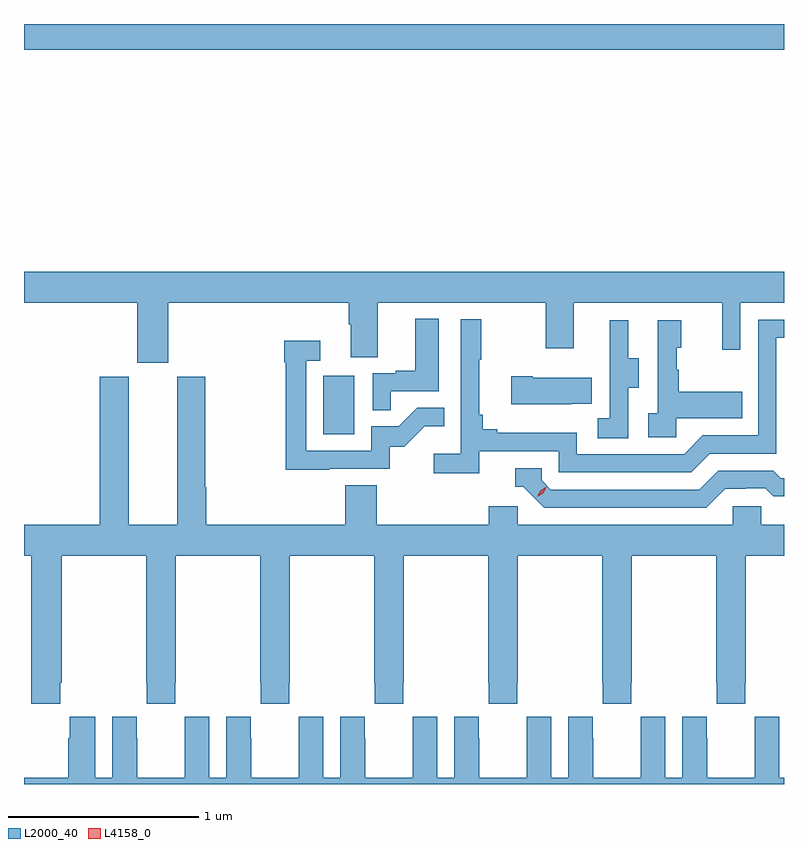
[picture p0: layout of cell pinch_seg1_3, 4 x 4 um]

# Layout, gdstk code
import gdstk
lib = gdstk.Library(unit=1e-6, precision=1e-09)
def R(c, l, rs):  # rectangles x0, y0, x1, y1
    for r in rs: c.add(gdstk.rectangle(r[:2], r[2:], *l))
def P(c, l, *ps):  # polygons
    for p in ps: c.add(gdstk.Polygon(p, *l))
L2000_40 = (2000, 40)
L4158_0 = (4158, 0)

pinch_seg1_3 = lib.new_cell('pinch_seg1_3')
R(pinch_seg1_3, L2000_40, [(1090.394,576.348,1090.558,576.655), (1088.82,578.372,1092.82,578.507)])
P(pinch_seg1_3, L2000_40, [(1089.58,577.04),(1090.529,577.04),(1090.529,576.928),(1090.541,576.928),(1090.541,576.754),(1090.681,576.754),(1090.681,577.04),(1091.566,577.04),(1091.566,576.801),(1091.713,576.801),(1091.713,577.04),(1092.494,577.04),(1092.494,576.792),(1092.591,576.792),(1092.591,577.04),(1092.82,577.04),(1092.82,577.204),(1088.82,577.204),(1088.82,577.04),(1089.416,577.04),(1089.416,576.723),(1089.58,576.723)],
  [(1090.751,576.573),(1091.002,576.573),(1091.002,576.955),(1090.88,576.955),(1090.88,576.682),(1090.777,576.682),(1090.777,576.669),(1090.656,576.669),(1090.656,576.475),(1090.751,576.475)],
  [(1091.216,576.258),(1091.634,576.258),(1091.634,576.147),(1092.331,576.147),(1092.43,576.246),(1092.78,576.246),(1092.78,576.855),(1092.82,576.855),(1092.82,576.951),(1092.684,576.951),(1092.684,576.342),(1092.393,576.342),(1092.294,576.243),(1091.73,576.243),(1091.73,576.355),(1091.311,576.355),(1091.311,576.374),(1091.234,576.374),(1091.234,576.451),(1091.215,576.451),(1091.215,576.739),(1091.227,576.739),(1091.227,576.952),(1091.118,576.952),(1091.118,576.244),(1090.977,576.244),(1090.977,576.142),(1091.216,576.142)],
  [(1092,576.592),(1092.055,576.592),(1092.055,576.747),(1092.001,576.747),(1092.001,576.949),(1091.903,576.949),(1091.903,576.735),(1091.904,576.735),(1091.904,576.431),(1091.841,576.431),(1091.841,576.328),(1092,576.328)],
  [(1092.252,576.431),(1092.599,576.431),(1092.599,576.571),(1092.265,576.571),(1092.265,576.686),(1092.255,576.686),(1092.255,576.804),(1092.28,576.804),(1092.28,576.949),(1092.156,576.949),(1092.156,576.458),(1092.105,576.458),(1092.105,576.333),(1092.252,576.333)],
  [(1090.427,576.165),(1090.746,576.165),(1090.746,576.282),(1090.822,576.282),(1090.929,576.389),(1091.033,576.389),(1091.033,576.488),(1090.89,576.488),(1090.792,576.39),(1090.647,576.39),(1090.647,576.261),(1090.305,576.261),(1090.305,576.735),(1090.378,576.735),(1090.378,576.841),(1090.189,576.841),(1090.189,576.728),(1090.197,576.728),(1090.197,576.16),(1090.427,576.16)],
  [(1091.699,576.509),(1091.807,576.509),(1091.807,576.646),(1091.497,576.646),(1091.497,576.654),(1091.385,576.654),(1091.385,576.506),(1091.699,576.506)],
  [(1089.37,576.651),(1089.218,576.651),(1089.218,575.872),(1088.82,575.872),(1088.82,575.708),(1088.858,575.708),(1088.858,574.929),(1089.011,574.929),(1089.011,575.041),(1089.018,575.041),(1089.018,575.708),(1089.463,575.708),(1089.463,575.041),(1089.465,575.041),(1089.465,574.929),(1089.615,574.929),(1089.615,575.041),(1089.618,575.041),(1089.618,575.708),(1090.063,575.708),(1090.063,575.041),(1090.065,575.041),(1090.065,574.929),(1090.215,574.929),(1090.215,575.041),(1090.218,575.041),(1090.218,575.708),(1090.663,575.708),(1090.663,575.041),(1090.665,575.041),(1090.665,574.929),(1090.815,574.929),(1090.815,575.041),(1090.818,575.041),(1090.818,575.708),(1091.263,575.708),(1091.263,575.041),(1091.265,575.041),(1091.265,574.929),(1091.415,574.929),(1091.415,575.041),(1091.418,575.041),(1091.418,575.708),(1091.863,575.708),(1091.863,575.041),(1091.865,575.041),(1091.865,574.929),(1092.015,574.929),(1092.015,575.041),(1092.018,575.041),(1092.018,575.708),(1092.463,575.708),(1092.463,575.041),(1092.465,575.041),(1092.465,574.929),(1092.615,574.929),(1092.615,575.041),(1092.618,575.041),(1092.618,575.708),(1092.82,575.708),(1092.82,575.872),(1092.699,575.872),(1092.699,575.97),(1092.549,575.97),(1092.549,575.872),(1091.418,575.872),(1091.418,575.97),(1091.267,575.97),(1091.267,575.872),(1090.676,575.872),(1090.676,576.08),(1090.511,576.08),(1090.511,575.872),(1089.779,575.872),(1089.779,576.068),(1089.774,576.068),(1089.774,576.651),(1089.626,576.651),(1089.626,575.872),(1089.37,575.872)],
  [(1092.511,576.06),(1092.618,576.06),(1092.618,576.063),(1092.721,576.063),(1092.763,576.021),(1092.82,576.021),(1092.82,576.117),(1092.802,576.117),(1092.763,576.156),(1092.474,576.156),(1092.375,576.057),(1091.592,576.057),(1091.544,576.105),(1091.544,576.168),(1091.405,576.168),(1091.405,576.072),(1091.448,576.072),(1091.559,575.961),(1092.412,575.961)],
  [(1092.82,574.54),(1092.796,574.54),(1092.796,574.861),(1092.666,574.861),(1092.666,574.748),(1092.665,574.748),(1092.665,574.54),(1092.415,574.54),(1092.415,574.748),(1092.414,574.748),(1092.414,574.861),(1092.284,574.861),(1092.284,574.54),(1092.196,574.54),(1092.196,574.861),(1092.066,574.861),(1092.066,574.748),(1092.065,574.748),(1092.065,574.54),(1091.815,574.54),(1091.815,574.748),(1091.814,574.748),(1091.814,574.861),(1091.684,574.861),(1091.684,574.54),(1091.596,574.54),(1091.596,574.861),(1091.466,574.861),(1091.466,574.748),(1091.465,574.748),(1091.465,574.54),(1091.215,574.54),(1091.215,574.748),(1091.214,574.748),(1091.214,574.861),(1091.084,574.861),(1091.084,574.54),(1090.996,574.54),(1090.996,574.861),(1090.866,574.861),(1090.866,574.748),(1090.865,574.748),(1090.865,574.54),(1090.615,574.54),(1090.615,574.748),(1090.614,574.748),(1090.614,574.861),(1090.484,574.861),(1090.484,574.54),(1090.396,574.54),(1090.396,574.861),(1090.266,574.861),(1090.266,574.748),(1090.265,574.748),(1090.265,574.54),(1090.015,574.54),(1090.015,574.748),(1090.014,574.748),(1090.014,574.861),(1089.884,574.861),(1089.884,574.54),(1089.796,574.54),(1089.796,574.861),(1089.666,574.861),(1089.666,574.748),(1089.665,574.748),(1089.665,574.54),(1089.415,574.54),(1089.415,574.748),(1089.414,574.748),(1089.414,574.861),(1089.284,574.861),(1089.284,574.54),(1089.196,574.54),(1089.196,574.861),(1089.062,574.861),(1089.062,574.748),(1089.053,574.748),(1089.053,574.54),(1088.82,574.54),(1088.82,574.507),(1092.82,574.507)])
P(pinch_seg1_3, L4158_0, [(1091.522,576.019),(1091.522,576.019),(1091.538,576.051),(1091.568,576.071),(1091.568,576.071),(1091.568,576.07),(1091.552,576.038),(1091.522,576.019)])

lib.write_gds('pinch_seg1_3.gds')
